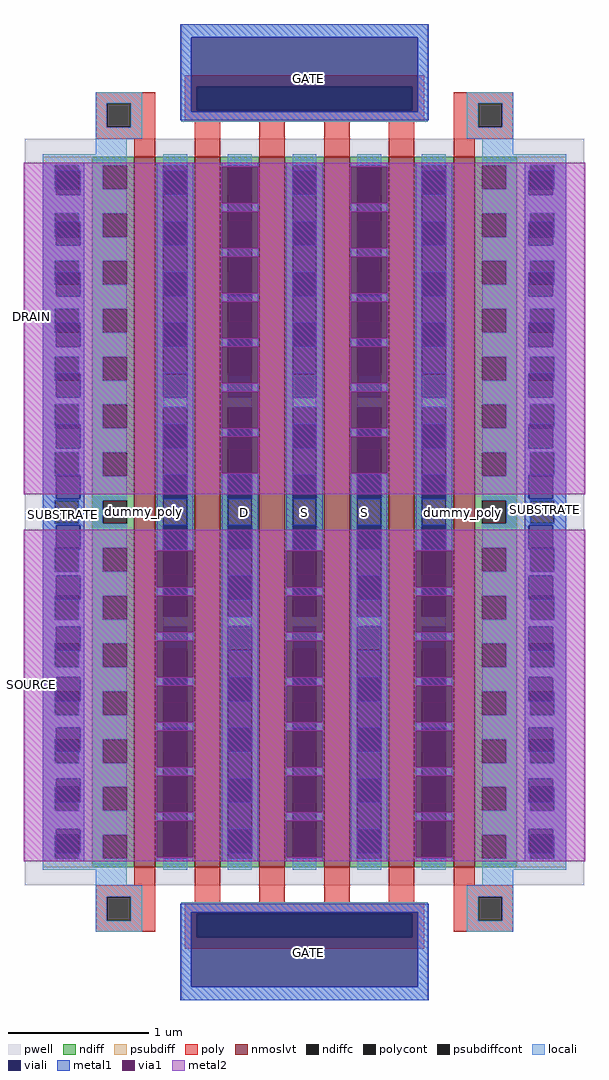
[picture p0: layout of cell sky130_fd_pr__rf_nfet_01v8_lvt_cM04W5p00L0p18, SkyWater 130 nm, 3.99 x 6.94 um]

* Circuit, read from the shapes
.subckt sky130_fd_pr__rf_nfet_01v8_lvt_cM04W5p00L0p18 GATE SUBSTRATE SOURCE DRAIN
XM1 SOURCE SUBSTRATE SUBSTRATE SUBSTRATE sky130_fd_pr__nfet_01v8_lvt w=5.05 l=0.15 m=2
XM2 DRAIN GATE SOURCE SUBSTRATE sky130_fd_pr__nfet_01v8_lvt w=5.05 l=0.18 m=4
.ends

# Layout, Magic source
magic
tech sky130A
magscale 1 2
<< pwell >>
rect 15 163 811 1225
<< nmoslvt >>
rect 171 189 201 1199
rect 257 189 293 1199
rect 349 189 385 1199
rect 441 189 477 1199
rect 533 189 569 1199
rect 625 189 655 1199
<< ndiff >>
rect 111 1187 171 1199
rect 111 1153 126 1187
rect 160 1153 171 1187
rect 111 1119 171 1153
rect 111 1085 126 1119
rect 160 1085 171 1119
rect 111 1051 171 1085
rect 111 1017 126 1051
rect 160 1017 171 1051
rect 111 983 171 1017
rect 111 949 126 983
rect 160 949 171 983
rect 111 915 171 949
rect 111 881 126 915
rect 160 881 171 915
rect 111 847 171 881
rect 111 813 126 847
rect 160 813 171 847
rect 111 779 171 813
rect 111 745 126 779
rect 160 745 171 779
rect 111 711 171 745
rect 111 677 126 711
rect 160 677 171 711
rect 111 643 171 677
rect 111 609 126 643
rect 160 609 171 643
rect 111 575 171 609
rect 111 541 126 575
rect 160 541 171 575
rect 111 507 171 541
rect 111 473 126 507
rect 160 473 171 507
rect 111 439 171 473
rect 111 405 126 439
rect 160 405 171 439
rect 111 371 171 405
rect 111 337 126 371
rect 160 337 171 371
rect 111 303 171 337
rect 111 269 126 303
rect 160 269 171 303
rect 111 235 171 269
rect 111 201 126 235
rect 160 201 171 235
rect 111 189 171 201
rect 201 1187 257 1199
rect 201 889 212 1187
rect 246 889 257 1187
rect 201 843 257 889
rect 201 545 212 843
rect 246 545 257 843
rect 201 499 257 545
rect 201 201 212 499
rect 246 201 257 499
rect 201 189 257 201
rect 293 1187 349 1199
rect 293 889 304 1187
rect 338 889 349 1187
rect 293 843 349 889
rect 293 545 304 843
rect 338 545 349 843
rect 293 499 349 545
rect 293 201 304 499
rect 338 201 349 499
rect 293 189 349 201
rect 385 1187 441 1199
rect 385 889 396 1187
rect 430 889 441 1187
rect 385 843 441 889
rect 385 545 396 843
rect 430 545 441 843
rect 385 499 441 545
rect 385 201 396 499
rect 430 201 441 499
rect 385 189 441 201
rect 477 1187 533 1199
rect 477 889 488 1187
rect 522 889 533 1187
rect 477 843 533 889
rect 477 545 488 843
rect 522 545 533 843
rect 477 499 533 545
rect 477 201 488 499
rect 522 201 533 499
rect 477 189 533 201
rect 569 1187 625 1199
rect 569 889 580 1187
rect 614 889 625 1187
rect 569 843 625 889
rect 569 545 580 843
rect 614 545 625 843
rect 569 499 625 545
rect 569 201 580 499
rect 614 201 625 499
rect 569 189 625 201
rect 655 1187 715 1199
rect 655 1153 666 1187
rect 700 1153 715 1187
rect 655 1119 715 1153
rect 655 1085 666 1119
rect 700 1085 715 1119
rect 655 1051 715 1085
rect 655 1017 666 1051
rect 700 1017 715 1051
rect 655 983 715 1017
rect 655 949 666 983
rect 700 949 715 983
rect 655 915 715 949
rect 655 881 666 915
rect 700 881 715 915
rect 655 847 715 881
rect 655 813 666 847
rect 700 813 715 847
rect 655 779 715 813
rect 655 745 666 779
rect 700 745 715 779
rect 655 711 715 745
rect 655 677 666 711
rect 700 677 715 711
rect 655 643 715 677
rect 655 609 666 643
rect 700 609 715 643
rect 655 575 715 609
rect 655 541 666 575
rect 700 541 715 575
rect 655 507 715 541
rect 655 473 666 507
rect 700 473 715 507
rect 655 439 715 473
rect 655 405 666 439
rect 700 405 715 439
rect 655 371 715 405
rect 655 337 666 371
rect 700 337 715 371
rect 655 303 715 337
rect 655 269 666 303
rect 700 269 715 303
rect 655 235 715 269
rect 655 201 666 235
rect 700 201 715 235
rect 655 189 715 201
<< ndiffc >>
rect 126 1153 160 1187
rect 126 1085 160 1119
rect 126 1017 160 1051
rect 126 949 160 983
rect 126 881 160 915
rect 126 813 160 847
rect 126 745 160 779
rect 126 677 160 711
rect 126 609 160 643
rect 126 541 160 575
rect 126 473 160 507
rect 126 405 160 439
rect 126 337 160 371
rect 126 269 160 303
rect 126 201 160 235
rect 212 889 246 1187
rect 212 545 246 843
rect 212 201 246 499
rect 304 889 338 1187
rect 304 545 338 843
rect 304 201 338 499
rect 396 889 430 1187
rect 396 545 430 843
rect 396 201 430 499
rect 488 889 522 1187
rect 488 545 522 843
rect 488 201 522 499
rect 580 889 614 1187
rect 580 545 614 843
rect 580 201 614 499
rect 666 1153 700 1187
rect 666 1085 700 1119
rect 666 1017 700 1051
rect 666 949 700 983
rect 666 881 700 915
rect 666 813 700 847
rect 666 745 700 779
rect 666 677 700 711
rect 666 609 700 643
rect 666 541 700 575
rect 666 473 700 507
rect 666 405 700 439
rect 666 337 700 371
rect 666 269 700 303
rect 666 201 700 235
<< psubdiff >>
rect 41 1187 111 1199
rect 41 1153 58 1187
rect 92 1153 111 1187
rect 41 1119 111 1153
rect 41 1085 58 1119
rect 92 1085 111 1119
rect 41 1051 111 1085
rect 41 1017 58 1051
rect 92 1017 111 1051
rect 41 983 111 1017
rect 41 949 58 983
rect 92 949 111 983
rect 41 915 111 949
rect 41 881 58 915
rect 92 881 111 915
rect 41 847 111 881
rect 41 813 58 847
rect 92 813 111 847
rect 41 779 111 813
rect 41 745 58 779
rect 92 745 111 779
rect 41 711 111 745
rect 41 677 58 711
rect 92 677 111 711
rect 41 643 111 677
rect 41 609 58 643
rect 92 609 111 643
rect 41 575 111 609
rect 41 541 58 575
rect 92 541 111 575
rect 41 507 111 541
rect 41 473 58 507
rect 92 473 111 507
rect 41 439 111 473
rect 41 405 58 439
rect 92 405 111 439
rect 41 371 111 405
rect 41 337 58 371
rect 92 337 111 371
rect 41 303 111 337
rect 41 269 58 303
rect 92 269 111 303
rect 41 235 111 269
rect 41 201 58 235
rect 92 201 111 235
rect 41 189 111 201
rect 715 1187 785 1199
rect 715 1153 734 1187
rect 768 1153 785 1187
rect 715 1119 785 1153
rect 715 1085 734 1119
rect 768 1085 785 1119
rect 715 1051 785 1085
rect 715 1017 734 1051
rect 768 1017 785 1051
rect 715 983 785 1017
rect 715 949 734 983
rect 768 949 785 983
rect 715 915 785 949
rect 715 881 734 915
rect 768 881 785 915
rect 715 847 785 881
rect 715 813 734 847
rect 768 813 785 847
rect 715 779 785 813
rect 715 745 734 779
rect 768 745 785 779
rect 715 711 785 745
rect 715 677 734 711
rect 768 677 785 711
rect 715 643 785 677
rect 715 609 734 643
rect 768 609 785 643
rect 715 575 785 609
rect 715 541 734 575
rect 768 541 785 575
rect 715 507 785 541
rect 715 473 734 507
rect 768 473 785 507
rect 715 439 785 473
rect 715 405 734 439
rect 768 405 785 439
rect 715 371 785 405
rect 715 337 734 371
rect 768 337 785 371
rect 715 303 785 337
rect 715 269 734 303
rect 768 269 785 303
rect 715 235 785 269
rect 715 201 734 235
rect 768 201 785 235
rect 715 189 785 201
<< psubdiffcont >>
rect 58 1153 92 1187
rect 58 1085 92 1119
rect 58 1017 92 1051
rect 58 949 92 983
rect 58 881 92 915
rect 58 813 92 847
rect 58 745 92 779
rect 58 677 92 711
rect 58 609 92 643
rect 58 541 92 575
rect 58 473 92 507
rect 58 405 92 439
rect 58 337 92 371
rect 58 269 92 303
rect 58 201 92 235
rect 734 1153 768 1187
rect 734 1085 768 1119
rect 734 1017 768 1051
rect 734 949 768 983
rect 734 881 768 915
rect 734 813 768 847
rect 734 745 768 779
rect 734 677 768 711
rect 734 609 768 643
rect 734 541 768 575
rect 734 473 768 507
rect 734 405 768 439
rect 734 337 768 371
rect 734 269 768 303
rect 734 201 768 235
<< poly >>
rect 243 1299 583 1315
rect 116 1275 201 1291
rect 116 1241 132 1275
rect 166 1241 201 1275
rect 243 1265 260 1299
rect 566 1265 583 1299
rect 243 1249 583 1265
rect 625 1275 710 1291
rect 116 1225 201 1241
rect 171 1199 201 1225
rect 257 1199 293 1249
rect 349 1199 385 1249
rect 441 1199 477 1249
rect 533 1199 569 1249
rect 625 1241 660 1275
rect 694 1241 710 1275
rect 625 1225 710 1241
rect 625 1199 655 1225
rect 171 163 201 189
rect 116 147 201 163
rect 116 113 132 147
rect 166 113 201 147
rect 257 139 293 189
rect 349 139 385 189
rect 441 139 477 189
rect 533 139 569 189
rect 625 163 655 189
rect 625 147 710 163
rect 116 97 201 113
rect 243 123 583 139
rect 243 89 260 123
rect 566 89 583 123
rect 625 113 660 147
rect 694 113 710 147
rect 625 97 710 113
rect 243 73 583 89
<< polycont >>
rect 132 1241 166 1275
rect 260 1265 566 1299
rect 660 1241 694 1275
rect 132 113 166 147
rect 260 89 566 123
rect 660 113 694 147
<< locali >>
rect 238 1369 588 1388
rect 116 1275 182 1291
rect 116 1241 132 1275
rect 166 1241 182 1275
rect 238 1263 252 1369
rect 574 1263 588 1369
rect 238 1249 588 1263
rect 644 1275 710 1291
rect 116 1225 182 1241
rect 644 1241 660 1275
rect 694 1241 710 1275
rect 644 1225 710 1241
rect 116 1203 160 1225
rect 666 1203 710 1225
rect 41 1187 160 1203
rect 41 1153 58 1187
rect 92 1179 126 1187
rect 94 1153 126 1179
rect 41 1145 60 1153
rect 94 1145 160 1153
rect 41 1119 160 1145
rect 41 1085 58 1119
rect 92 1107 126 1119
rect 94 1085 126 1107
rect 41 1073 60 1085
rect 94 1073 160 1085
rect 41 1051 160 1073
rect 41 1017 58 1051
rect 92 1035 126 1051
rect 94 1017 126 1035
rect 41 1001 60 1017
rect 94 1001 160 1017
rect 41 983 160 1001
rect 41 949 58 983
rect 92 963 126 983
rect 94 949 126 963
rect 41 929 60 949
rect 94 929 160 949
rect 41 915 160 929
rect 41 881 58 915
rect 92 891 126 915
rect 94 881 126 891
rect 41 857 60 881
rect 94 857 160 881
rect 41 847 160 857
rect 41 813 58 847
rect 92 819 126 847
rect 94 813 126 819
rect 41 785 60 813
rect 94 785 160 813
rect 41 779 160 785
rect 41 745 58 779
rect 92 747 126 779
rect 94 745 126 747
rect 41 713 60 745
rect 94 713 160 745
rect 41 711 160 713
rect 41 677 58 711
rect 92 677 126 711
rect 41 675 160 677
rect 41 643 60 675
rect 94 643 160 675
rect 41 609 58 643
rect 94 641 126 643
rect 92 609 126 641
rect 41 603 160 609
rect 41 575 60 603
rect 94 575 160 603
rect 41 541 58 575
rect 94 569 126 575
rect 92 541 126 569
rect 41 531 160 541
rect 41 507 60 531
rect 94 507 160 531
rect 41 473 58 507
rect 94 497 126 507
rect 92 473 126 497
rect 41 459 160 473
rect 41 439 60 459
rect 94 439 160 459
rect 41 405 58 439
rect 94 425 126 439
rect 92 405 126 425
rect 41 387 160 405
rect 41 371 60 387
rect 94 371 160 387
rect 41 337 58 371
rect 94 353 126 371
rect 92 337 126 353
rect 41 315 160 337
rect 41 303 60 315
rect 94 303 160 315
rect 41 269 58 303
rect 94 281 126 303
rect 92 269 126 281
rect 41 243 160 269
rect 41 235 60 243
rect 94 235 160 243
rect 41 201 58 235
rect 94 209 126 235
rect 92 201 126 209
rect 41 185 160 201
rect 212 1187 246 1203
rect 212 843 246 857
rect 212 531 246 545
rect 212 185 246 201
rect 304 1187 338 1203
rect 304 843 338 857
rect 304 531 338 545
rect 304 185 338 201
rect 396 1187 430 1203
rect 396 843 430 857
rect 396 531 430 545
rect 396 185 430 201
rect 488 1187 522 1203
rect 488 843 522 857
rect 488 531 522 545
rect 488 185 522 201
rect 580 1187 614 1203
rect 580 843 614 857
rect 580 531 614 545
rect 580 185 614 201
rect 666 1187 785 1203
rect 700 1179 734 1187
rect 700 1153 732 1179
rect 768 1153 785 1187
rect 666 1145 732 1153
rect 766 1145 785 1153
rect 666 1119 785 1145
rect 700 1107 734 1119
rect 700 1085 732 1107
rect 768 1085 785 1119
rect 666 1073 732 1085
rect 766 1073 785 1085
rect 666 1051 785 1073
rect 700 1035 734 1051
rect 700 1017 732 1035
rect 768 1017 785 1051
rect 666 1001 732 1017
rect 766 1001 785 1017
rect 666 983 785 1001
rect 700 963 734 983
rect 700 949 732 963
rect 768 949 785 983
rect 666 929 732 949
rect 766 929 785 949
rect 666 915 785 929
rect 700 891 734 915
rect 700 881 732 891
rect 768 881 785 915
rect 666 857 732 881
rect 766 857 785 881
rect 666 847 785 857
rect 700 819 734 847
rect 700 813 732 819
rect 768 813 785 847
rect 666 785 732 813
rect 766 785 785 813
rect 666 779 785 785
rect 700 747 734 779
rect 700 745 732 747
rect 768 745 785 779
rect 666 713 732 745
rect 766 713 785 745
rect 666 711 785 713
rect 700 677 734 711
rect 768 677 785 711
rect 666 675 785 677
rect 666 643 732 675
rect 766 643 785 675
rect 700 641 732 643
rect 700 609 734 641
rect 768 609 785 643
rect 666 603 785 609
rect 666 575 732 603
rect 766 575 785 603
rect 700 569 732 575
rect 700 541 734 569
rect 768 541 785 575
rect 666 531 785 541
rect 666 507 732 531
rect 766 507 785 531
rect 700 497 732 507
rect 700 473 734 497
rect 768 473 785 507
rect 666 459 785 473
rect 666 439 732 459
rect 766 439 785 459
rect 700 425 732 439
rect 700 405 734 425
rect 768 405 785 439
rect 666 387 785 405
rect 666 371 732 387
rect 766 371 785 387
rect 700 353 732 371
rect 700 337 734 353
rect 768 337 785 371
rect 666 315 785 337
rect 666 303 732 315
rect 766 303 785 315
rect 700 281 732 303
rect 700 269 734 281
rect 768 269 785 303
rect 666 243 785 269
rect 666 235 732 243
rect 766 235 785 243
rect 700 209 732 235
rect 700 201 734 209
rect 768 201 785 235
rect 666 185 785 201
rect 116 163 160 185
rect 666 163 710 185
rect 116 147 182 163
rect 116 113 132 147
rect 166 113 182 147
rect 644 147 710 163
rect 116 97 182 113
rect 238 125 588 139
rect 238 19 252 125
rect 574 19 588 125
rect 644 113 660 147
rect 694 113 710 147
rect 644 97 710 113
rect 238 0 588 19
<< viali >>
rect 252 1299 574 1369
rect 252 1265 260 1299
rect 260 1265 566 1299
rect 566 1265 574 1299
rect 252 1263 574 1265
rect 60 1153 92 1179
rect 92 1153 94 1179
rect 60 1145 94 1153
rect 60 1085 92 1107
rect 92 1085 94 1107
rect 60 1073 94 1085
rect 60 1017 92 1035
rect 92 1017 94 1035
rect 60 1001 94 1017
rect 60 949 92 963
rect 92 949 94 963
rect 60 929 94 949
rect 60 881 92 891
rect 92 881 94 891
rect 60 857 94 881
rect 60 813 92 819
rect 92 813 94 819
rect 60 785 94 813
rect 60 745 92 747
rect 92 745 94 747
rect 60 713 94 745
rect 60 643 94 675
rect 60 641 92 643
rect 92 641 94 643
rect 60 575 94 603
rect 60 569 92 575
rect 92 569 94 575
rect 60 507 94 531
rect 60 497 92 507
rect 92 497 94 507
rect 60 439 94 459
rect 60 425 92 439
rect 92 425 94 439
rect 60 371 94 387
rect 60 353 92 371
rect 92 353 94 371
rect 60 303 94 315
rect 60 281 92 303
rect 92 281 94 303
rect 60 235 94 243
rect 60 209 92 235
rect 92 209 94 235
rect 212 1145 246 1179
rect 212 1073 246 1107
rect 212 1001 246 1035
rect 212 929 246 963
rect 212 889 246 891
rect 212 857 246 889
rect 212 785 246 819
rect 212 713 246 747
rect 212 641 246 675
rect 212 569 246 603
rect 212 499 246 531
rect 212 497 246 499
rect 212 425 246 459
rect 212 353 246 387
rect 212 281 246 315
rect 212 209 246 243
rect 304 1145 338 1179
rect 304 1073 338 1107
rect 304 1001 338 1035
rect 304 929 338 963
rect 304 889 338 891
rect 304 857 338 889
rect 304 785 338 819
rect 304 713 338 747
rect 304 641 338 675
rect 304 569 338 603
rect 304 499 338 531
rect 304 497 338 499
rect 304 425 338 459
rect 304 353 338 387
rect 304 281 338 315
rect 304 209 338 243
rect 396 1145 430 1179
rect 396 1073 430 1107
rect 396 1001 430 1035
rect 396 929 430 963
rect 396 889 430 891
rect 396 857 430 889
rect 396 785 430 819
rect 396 713 430 747
rect 396 641 430 675
rect 396 569 430 603
rect 396 499 430 531
rect 396 497 430 499
rect 396 425 430 459
rect 396 353 430 387
rect 396 281 430 315
rect 396 209 430 243
rect 488 1145 522 1179
rect 488 1073 522 1107
rect 488 1001 522 1035
rect 488 929 522 963
rect 488 889 522 891
rect 488 857 522 889
rect 488 785 522 819
rect 488 713 522 747
rect 488 641 522 675
rect 488 569 522 603
rect 488 499 522 531
rect 488 497 522 499
rect 488 425 522 459
rect 488 353 522 387
rect 488 281 522 315
rect 488 209 522 243
rect 580 1145 614 1179
rect 580 1073 614 1107
rect 580 1001 614 1035
rect 580 929 614 963
rect 580 889 614 891
rect 580 857 614 889
rect 580 785 614 819
rect 580 713 614 747
rect 580 641 614 675
rect 580 569 614 603
rect 580 499 614 531
rect 580 497 614 499
rect 580 425 614 459
rect 580 353 614 387
rect 580 281 614 315
rect 580 209 614 243
rect 732 1153 734 1179
rect 734 1153 766 1179
rect 732 1145 766 1153
rect 732 1085 734 1107
rect 734 1085 766 1107
rect 732 1073 766 1085
rect 732 1017 734 1035
rect 734 1017 766 1035
rect 732 1001 766 1017
rect 732 949 734 963
rect 734 949 766 963
rect 732 929 766 949
rect 732 881 734 891
rect 734 881 766 891
rect 732 857 766 881
rect 732 813 734 819
rect 734 813 766 819
rect 732 785 766 813
rect 732 745 734 747
rect 734 745 766 747
rect 732 713 766 745
rect 732 643 766 675
rect 732 641 734 643
rect 734 641 766 643
rect 732 575 766 603
rect 732 569 734 575
rect 734 569 766 575
rect 732 507 766 531
rect 732 497 734 507
rect 734 497 766 507
rect 732 439 766 459
rect 732 425 734 439
rect 734 425 766 439
rect 732 371 766 387
rect 732 353 734 371
rect 734 353 766 371
rect 732 303 766 315
rect 732 281 734 303
rect 734 281 766 303
rect 732 235 766 243
rect 732 209 734 235
rect 734 209 766 235
rect 252 123 574 125
rect 252 89 260 123
rect 260 89 566 123
rect 566 89 574 123
rect 252 19 574 89
<< metal1 >>
rect 236 1369 590 1388
rect 236 1263 252 1369
rect 574 1263 590 1369
rect 236 1251 590 1263
rect 41 1179 100 1191
rect 41 1145 60 1179
rect 94 1145 100 1179
rect 41 1107 100 1145
rect 41 1073 60 1107
rect 94 1073 100 1107
rect 41 1035 100 1073
rect 41 1001 60 1035
rect 94 1001 100 1035
rect 41 963 100 1001
rect 41 929 60 963
rect 94 929 100 963
rect 41 891 100 929
rect 41 857 60 891
rect 94 857 100 891
rect 41 819 100 857
rect 41 785 60 819
rect 94 785 100 819
rect 41 747 100 785
rect 41 713 60 747
rect 94 713 100 747
rect 41 675 100 713
rect 41 641 60 675
rect 94 641 100 675
rect 41 603 100 641
rect 41 569 60 603
rect 94 569 100 603
rect 41 531 100 569
rect 41 497 60 531
rect 94 497 100 531
rect 41 459 100 497
rect 41 425 60 459
rect 94 425 100 459
rect 41 387 100 425
rect 41 353 60 387
rect 94 353 100 387
rect 41 315 100 353
rect 41 281 60 315
rect 94 281 100 315
rect 41 243 100 281
rect 41 209 60 243
rect 94 209 100 243
rect 41 197 100 209
rect 203 1179 255 1191
rect 203 1145 212 1179
rect 246 1145 255 1179
rect 203 1107 255 1145
rect 203 1073 212 1107
rect 246 1073 255 1107
rect 203 1035 255 1073
rect 203 1001 212 1035
rect 246 1001 255 1035
rect 203 963 255 1001
rect 203 929 212 963
rect 246 929 255 963
rect 203 891 255 929
rect 203 857 212 891
rect 246 857 255 891
rect 203 819 255 857
rect 203 785 212 819
rect 246 785 255 819
rect 203 747 255 785
rect 203 713 212 747
rect 246 713 255 747
rect 203 675 255 713
rect 203 641 212 675
rect 246 641 255 675
rect 203 639 255 641
rect 203 575 212 587
rect 246 575 255 587
rect 203 511 212 523
rect 246 511 255 523
rect 203 447 212 459
rect 246 447 255 459
rect 203 387 255 395
rect 203 383 212 387
rect 246 383 255 387
rect 203 319 255 331
rect 203 255 255 267
rect 203 197 255 203
rect 295 1185 347 1191
rect 295 1121 347 1133
rect 295 1057 347 1069
rect 295 1001 304 1005
rect 338 1001 347 1005
rect 295 993 347 1001
rect 295 929 304 941
rect 338 929 347 941
rect 295 865 304 877
rect 338 865 347 877
rect 295 801 304 813
rect 338 801 347 813
rect 295 747 347 749
rect 295 713 304 747
rect 338 713 347 747
rect 295 675 347 713
rect 295 641 304 675
rect 338 641 347 675
rect 295 603 347 641
rect 295 569 304 603
rect 338 569 347 603
rect 295 531 347 569
rect 295 497 304 531
rect 338 497 347 531
rect 295 459 347 497
rect 295 425 304 459
rect 338 425 347 459
rect 295 387 347 425
rect 295 353 304 387
rect 338 353 347 387
rect 295 315 347 353
rect 295 281 304 315
rect 338 281 347 315
rect 295 243 347 281
rect 295 209 304 243
rect 338 209 347 243
rect 295 197 347 209
rect 387 1179 439 1191
rect 387 1145 396 1179
rect 430 1145 439 1179
rect 387 1107 439 1145
rect 387 1073 396 1107
rect 430 1073 439 1107
rect 387 1035 439 1073
rect 387 1001 396 1035
rect 430 1001 439 1035
rect 387 963 439 1001
rect 387 929 396 963
rect 430 929 439 963
rect 387 891 439 929
rect 387 857 396 891
rect 430 857 439 891
rect 387 819 439 857
rect 387 785 396 819
rect 430 785 439 819
rect 387 747 439 785
rect 387 713 396 747
rect 430 713 439 747
rect 387 675 439 713
rect 387 641 396 675
rect 430 641 439 675
rect 387 639 439 641
rect 387 575 396 587
rect 430 575 439 587
rect 387 511 396 523
rect 430 511 439 523
rect 387 447 396 459
rect 430 447 439 459
rect 387 387 439 395
rect 387 383 396 387
rect 430 383 439 387
rect 387 319 439 331
rect 387 255 439 267
rect 387 197 439 203
rect 479 1185 531 1191
rect 479 1121 531 1133
rect 479 1057 531 1069
rect 479 1001 488 1005
rect 522 1001 531 1005
rect 479 993 531 1001
rect 479 929 488 941
rect 522 929 531 941
rect 479 865 488 877
rect 522 865 531 877
rect 479 801 488 813
rect 522 801 531 813
rect 479 747 531 749
rect 479 713 488 747
rect 522 713 531 747
rect 479 675 531 713
rect 479 641 488 675
rect 522 641 531 675
rect 479 603 531 641
rect 479 569 488 603
rect 522 569 531 603
rect 479 531 531 569
rect 479 497 488 531
rect 522 497 531 531
rect 479 459 531 497
rect 479 425 488 459
rect 522 425 531 459
rect 479 387 531 425
rect 479 353 488 387
rect 522 353 531 387
rect 479 315 531 353
rect 479 281 488 315
rect 522 281 531 315
rect 479 243 531 281
rect 479 209 488 243
rect 522 209 531 243
rect 479 197 531 209
rect 571 1179 623 1191
rect 571 1145 580 1179
rect 614 1145 623 1179
rect 571 1107 623 1145
rect 571 1073 580 1107
rect 614 1073 623 1107
rect 571 1035 623 1073
rect 571 1001 580 1035
rect 614 1001 623 1035
rect 571 963 623 1001
rect 571 929 580 963
rect 614 929 623 963
rect 571 891 623 929
rect 571 857 580 891
rect 614 857 623 891
rect 571 819 623 857
rect 571 785 580 819
rect 614 785 623 819
rect 571 747 623 785
rect 571 713 580 747
rect 614 713 623 747
rect 571 675 623 713
rect 571 641 580 675
rect 614 641 623 675
rect 571 639 623 641
rect 571 575 580 587
rect 614 575 623 587
rect 571 511 580 523
rect 614 511 623 523
rect 571 447 580 459
rect 614 447 623 459
rect 571 387 623 395
rect 571 383 580 387
rect 614 383 623 387
rect 571 319 623 331
rect 571 255 623 267
rect 571 197 623 203
rect 726 1179 785 1191
rect 726 1145 732 1179
rect 766 1145 785 1179
rect 726 1107 785 1145
rect 726 1073 732 1107
rect 766 1073 785 1107
rect 726 1035 785 1073
rect 726 1001 732 1035
rect 766 1001 785 1035
rect 726 963 785 1001
rect 726 929 732 963
rect 766 929 785 963
rect 726 891 785 929
rect 726 857 732 891
rect 766 857 785 891
rect 726 819 785 857
rect 726 785 732 819
rect 766 785 785 819
rect 726 747 785 785
rect 726 713 732 747
rect 766 713 785 747
rect 726 675 785 713
rect 726 641 732 675
rect 766 641 785 675
rect 726 603 785 641
rect 726 569 732 603
rect 766 569 785 603
rect 726 531 785 569
rect 726 497 732 531
rect 766 497 785 531
rect 726 459 785 497
rect 726 425 732 459
rect 766 425 785 459
rect 726 387 785 425
rect 726 353 732 387
rect 766 353 785 387
rect 726 315 785 353
rect 726 281 732 315
rect 766 281 785 315
rect 726 243 785 281
rect 726 209 732 243
rect 766 209 785 243
rect 726 197 785 209
rect 236 125 590 137
rect 236 19 252 125
rect 574 19 590 125
rect 236 0 590 19
<< via1 >>
rect 203 603 255 639
rect 203 587 212 603
rect 212 587 246 603
rect 246 587 255 603
rect 203 569 212 575
rect 212 569 246 575
rect 246 569 255 575
rect 203 531 255 569
rect 203 523 212 531
rect 212 523 246 531
rect 246 523 255 531
rect 203 497 212 511
rect 212 497 246 511
rect 246 497 255 511
rect 203 459 255 497
rect 203 425 212 447
rect 212 425 246 447
rect 246 425 255 447
rect 203 395 255 425
rect 203 353 212 383
rect 212 353 246 383
rect 246 353 255 383
rect 203 331 255 353
rect 203 315 255 319
rect 203 281 212 315
rect 212 281 246 315
rect 246 281 255 315
rect 203 267 255 281
rect 203 243 255 255
rect 203 209 212 243
rect 212 209 246 243
rect 246 209 255 243
rect 203 203 255 209
rect 295 1179 347 1185
rect 295 1145 304 1179
rect 304 1145 338 1179
rect 338 1145 347 1179
rect 295 1133 347 1145
rect 295 1107 347 1121
rect 295 1073 304 1107
rect 304 1073 338 1107
rect 338 1073 347 1107
rect 295 1069 347 1073
rect 295 1035 347 1057
rect 295 1005 304 1035
rect 304 1005 338 1035
rect 338 1005 347 1035
rect 295 963 347 993
rect 295 941 304 963
rect 304 941 338 963
rect 338 941 347 963
rect 295 891 347 929
rect 295 877 304 891
rect 304 877 338 891
rect 338 877 347 891
rect 295 857 304 865
rect 304 857 338 865
rect 338 857 347 865
rect 295 819 347 857
rect 295 813 304 819
rect 304 813 338 819
rect 338 813 347 819
rect 295 785 304 801
rect 304 785 338 801
rect 338 785 347 801
rect 295 749 347 785
rect 387 603 439 639
rect 387 587 396 603
rect 396 587 430 603
rect 430 587 439 603
rect 387 569 396 575
rect 396 569 430 575
rect 430 569 439 575
rect 387 531 439 569
rect 387 523 396 531
rect 396 523 430 531
rect 430 523 439 531
rect 387 497 396 511
rect 396 497 430 511
rect 430 497 439 511
rect 387 459 439 497
rect 387 425 396 447
rect 396 425 430 447
rect 430 425 439 447
rect 387 395 439 425
rect 387 353 396 383
rect 396 353 430 383
rect 430 353 439 383
rect 387 331 439 353
rect 387 315 439 319
rect 387 281 396 315
rect 396 281 430 315
rect 430 281 439 315
rect 387 267 439 281
rect 387 243 439 255
rect 387 209 396 243
rect 396 209 430 243
rect 430 209 439 243
rect 387 203 439 209
rect 479 1179 531 1185
rect 479 1145 488 1179
rect 488 1145 522 1179
rect 522 1145 531 1179
rect 479 1133 531 1145
rect 479 1107 531 1121
rect 479 1073 488 1107
rect 488 1073 522 1107
rect 522 1073 531 1107
rect 479 1069 531 1073
rect 479 1035 531 1057
rect 479 1005 488 1035
rect 488 1005 522 1035
rect 522 1005 531 1035
rect 479 963 531 993
rect 479 941 488 963
rect 488 941 522 963
rect 522 941 531 963
rect 479 891 531 929
rect 479 877 488 891
rect 488 877 522 891
rect 522 877 531 891
rect 479 857 488 865
rect 488 857 522 865
rect 522 857 531 865
rect 479 819 531 857
rect 479 813 488 819
rect 488 813 522 819
rect 522 813 531 819
rect 479 785 488 801
rect 488 785 522 801
rect 522 785 531 801
rect 479 749 531 785
rect 571 603 623 639
rect 571 587 580 603
rect 580 587 614 603
rect 614 587 623 603
rect 571 569 580 575
rect 580 569 614 575
rect 614 569 623 575
rect 571 531 623 569
rect 571 523 580 531
rect 580 523 614 531
rect 614 523 623 531
rect 571 497 580 511
rect 580 497 614 511
rect 614 497 623 511
rect 571 459 623 497
rect 571 425 580 447
rect 580 425 614 447
rect 614 425 623 447
rect 571 395 623 425
rect 571 353 580 383
rect 580 353 614 383
rect 614 353 623 383
rect 571 331 623 353
rect 571 315 623 319
rect 571 281 580 315
rect 580 281 614 315
rect 614 281 623 315
rect 571 267 623 281
rect 571 243 623 255
rect 571 209 580 243
rect 580 209 614 243
rect 614 209 623 243
rect 571 203 623 209
<< metal2 >>
rect 14 1185 812 1191
rect 14 1133 295 1185
rect 347 1133 479 1185
rect 531 1133 812 1185
rect 14 1121 812 1133
rect 14 1069 295 1121
rect 347 1069 479 1121
rect 531 1069 812 1121
rect 14 1057 812 1069
rect 14 1005 295 1057
rect 347 1005 479 1057
rect 531 1005 812 1057
rect 14 993 812 1005
rect 14 941 295 993
rect 347 941 479 993
rect 531 941 812 993
rect 14 929 812 941
rect 14 877 295 929
rect 347 877 479 929
rect 531 877 812 929
rect 14 865 812 877
rect 14 813 295 865
rect 347 813 479 865
rect 531 813 812 865
rect 14 801 812 813
rect 14 749 295 801
rect 347 749 479 801
rect 531 749 812 801
rect 14 719 812 749
rect 14 639 812 669
rect 14 587 203 639
rect 255 587 387 639
rect 439 587 571 639
rect 623 587 812 639
rect 14 575 812 587
rect 14 523 203 575
rect 255 523 387 575
rect 439 523 571 575
rect 623 523 812 575
rect 14 511 812 523
rect 14 459 203 511
rect 255 459 387 511
rect 439 459 571 511
rect 623 459 812 511
rect 14 447 812 459
rect 14 395 203 447
rect 255 395 387 447
rect 439 395 571 447
rect 623 395 812 447
rect 14 383 812 395
rect 14 331 203 383
rect 255 331 387 383
rect 439 331 571 383
rect 623 331 812 383
rect 14 319 812 331
rect 14 267 203 319
rect 255 267 387 319
rect 439 267 571 319
rect 623 267 812 319
rect 14 255 812 267
rect 14 203 203 255
rect 255 203 387 255
rect 439 203 571 255
rect 623 203 812 255
rect 14 197 812 203
<< labels >>
flabel metal1 s 301 1286 535 1336 0 FreeSans 200 0 0 0 GATE
port 1 nsew
flabel metal1 s 301 42 535 92 0 FreeSans 200 0 0 0 GATE
port 1 nsew
flabel metal1 s 41 675 100 705 0 FreeSans 200 90 0 0 SUBSTRATE
port 2 nsew
flabel metal1 s 726 683 785 713 0 FreeSans 200 90 0 0 SUBSTRATE
port 2 nsew
flabel comment s 184 695 184 695 0 FreeSans 180 90 0 0 dummy_poly
flabel comment s 637 693 637 693 0 FreeSans 180 90 0 0 dummy_poly
flabel comment s 327 694 327 694 0 FreeSans 300 0 0 0 D
flabel comment s 241 694 241 694 0 FreeSans 300 0 0 0 S
flabel comment s 499 694 499 694 0 FreeSans 300 0 0 0 S
flabel comment s 413 694 413 694 0 FreeSans 300 0 0 0 S
flabel comment s 327 694 327 694 0 FreeSans 300 0 0 0 S
flabel comment s 241 694 241 694 0 FreeSans 300 0 0 0 S
flabel comment s 585 694 585 694 0 FreeSans 300 0 0 0 S
flabel comment s 499 694 499 694 0 FreeSans 300 0 0 0 D
flabel comment s 413 694 413 694 0 FreeSans 300 0 0 0 S
flabel metal2 s 14 384 35 512 7 FreeSans 300 180 0 0 SOURCE
port 3 nsew
flabel metal2 s 14 908 35 1036 7 FreeSans 300 180 0 0 DRAIN
port 4 nsew
<< properties >>
string GDS_FILE $PDKPATH/libs.ref/sky130_fd_pr/gds/sky130_fd_pr.gds
string GDS_END 6740970
string GDS_START 6717840
<< end >>
